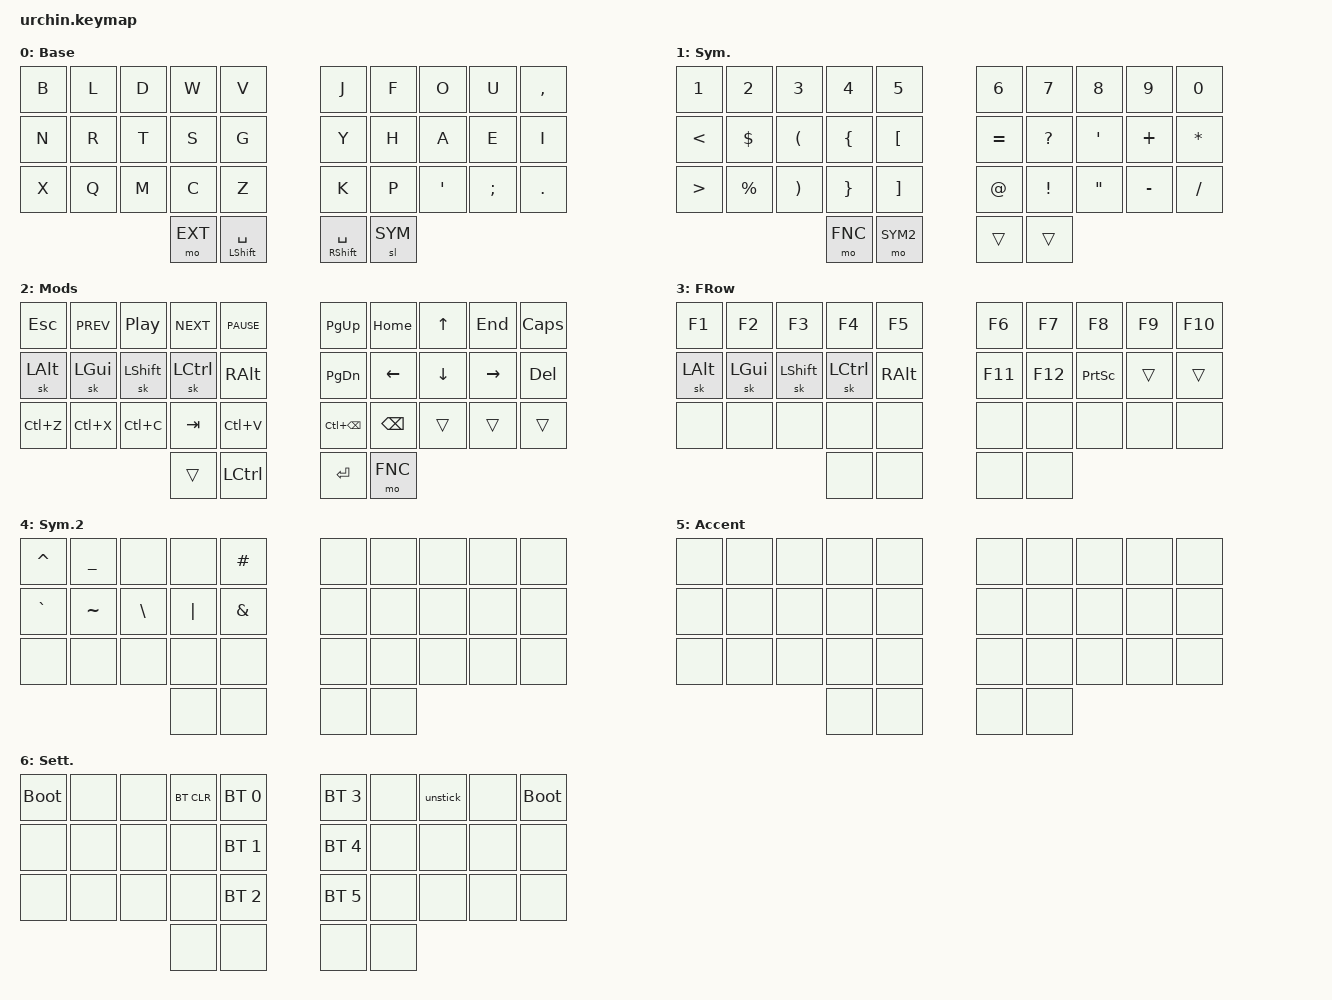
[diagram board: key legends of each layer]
/*
 * Copyright (c) 2020 duckyb
 *
 * SPDX-License-Identifier: MIT
 */

#include <behaviors.dtsi>
#include <dt-bindings/zmk/keys.h>
#include <dt-bindings/zmk/bt.h>
#include <dt-bindings/zmk/outputs.h>
#include "keymap_italian.h"

// Layer definitions
#define BASE 0
#define SYM 1
#define EXT 2
#define FNC 3
#define SYM2 4
#define ACCENT 5
#define SETTINGS 6
// -----------------

&sk {
	// don't release mods on other mods presses
	ignore-modifiers;
};


/ {
	behaviors {
		// Enables holding the first mod-tap key
		// by performing a tap-release-hold sequence.
		// To use it: "&qt KEYCODE1 KEYCODE2"
		qt: quick_tap {
			compatible = "zmk,behavior-hold-tap";
			label = "QUICK_TAP";
			#binding-cells = <2>;
			flavor = "hold-preferred";
			tapping-term-ms = <200>;
			quick-tap-ms = <200>;
			bindings = <&kp>, <&kp>;
		};
	};

	macros {
		// sometimes my device thinks a modifier is being held down
		// pressing all modifiers fixes it.
		unstick: unstick {
			label = "ZM_unstick";
			compatible = "zmk,behavior-macro";
			#binding-cells = <0>;
			bindings = <&kp LSHIFT &kp RSHIFT &kp LCTRL &kp RCTRL &kp LALT &kp RALT &kp LGUI &kp RGUI>;
		};
	};

	combos {
		compatible = "zmk,combos";
		// both right thumb keys
		combo_accent {
			timeout-ms = <200>;
			key-positions = <32 33>;
			bindings = <&mo ACCENT>;
		};
		// internal-left & external-right thumb keys
		combo_sym2 {
			timeout-ms = <200>;
			key-positions = <31 33>;
			bindings = <&mo SYM2>;
		};
		// both left thumb keys
		combo_settings {
			timeout-ms = <200>;
			key-positions = <30 31>;
			bindings = <&mo SETTINGS>;
		};
	};

	keymap {
		compatible = "zmk,keymap";
		// Base alpha layer
		default_layer {
			label = "Base";
			bindings = <
			&kp B &kp L &kp D &kp W &kp V           &kp J &kp F  &kp O     &kp U    &kp COMMA 
			&kp N &kp R &kp T &kp S &kp G           &kp Y &kp H  &kp A     &kp E    &kp I
			&kp X &kp Q &kp M &kp C &kp Z           &kp K &kp P  &kp APOS  &kp SEMI &kp DOT
					  &mo EXT &qt LSHIFT SPACE           &qt RSHIFT SPACE &sl SYM
			>;
		};

		// Numbers and high-frequency symbols
		sym_layer {
			label = "Sym.";
			bindings = <
			&kp N1           &kp N2      &kp N3   &kp N4   &kp N5		&kp N6  &kp N7   &kp N8    &kp N9    &kp N0
			&kp LESS_THAN    &kp DOLLAR  &kp LPAR &kp LBRC &kp LBKT         &kp EQUAL &kp QUESTION &kp APOS &kp PLUS &kp ASTRK
			&kp GREATER_THAN &kp PERCENT &kp RPAR &kp RBRC &kp RBKT 	&kp AT  &kp EXCL &kp DQT &kp MINUS  &kp FSLH
							      &mo FNC  &mo SYM2         &trans  &trans
			>;
		};

		// Main modifiers and arrow keys
		ext_layer {
			label = "Mods";
			bindings = <
			&kp ESC   &kp C_PREV &kp C_PP    &kp C_NEXT &kp C_PAUSE        &kp PG_UP    &kp HOME  &kp UP    &kp END    &kp CAPS
			&sk LALT  &sk LGUI   &sk LSHIFT  &sk LCTRL  &kp RALT 	       &kp PG_DN    &kp LEFT  &kp DOWN  &kp RIGHT  &kp DEL
			&kp LC(Z) &kp LC(X)  &kp LC(C)   &kp TAB    &kp LC(V)          &kp LC(BSPC) &kp BSPC  &trans    &trans     &trans
							 &trans     &kp LCTRL          &kp ENTER    &mo FNC 
			>;
		};

		// Function keys with modifiers
		fnc_layer {
			label = "FRow";
			bindings = <
			&kp F1   &kp F2   &kp F3     &kp F4    &kp F5 		&kp F6  &kp F7   &kp F8          &kp F9 &kp F10 
			&sk LALT &sk LGUI &sk LSHIFT &sk LCTRL &kp RALT         &kp F11 &kp F12  &kp PRINTSCREEN &trans &trans
			&none    &none    &none      &none     &none		&none   &none    &none           &none  &none 
						     &none     &none            &none   &none  
			>;
		};

		// Low frequency symbols.
		symbols_2_layer {
			label = "Sym.2";
			bindings = <
			&kp CARET &kp UNDER &none    &none    &kp HASH       &none &none &none &none &none 
			&kp GRAVE &kp TILDE &kp BSLH &kp PIPE &kp AMPS        &none &none &none &none &none
			&none     &none     &none    &none    &none          &none &none &none &none &none
							&none &none          &none &none 
			>;
		};

		// Used to type regional accents.
		accent_layer {
			label = "Accent";
			bindings = <
			&none &none &none &none &none 		&none &none &none &none &none 
			&none &none &none &none &none 		&none &none &none &none &none
			&none &none &none &none &none 		&none &none &none &none &none
					  &none &none           &none &none 
			>;
		};

		// Used to change the keyboard's settings.
		settings_layer {
				label = "Sett.";
				bindings = <
				&bootloader &none &none &bt BT_CLR &bt BT_SEL 0               &bt BT_SEL 3 &none &unstick &none &bootloader 
				&none &none &none &none      &bt BT_SEL 1 						  &bt BT_SEL 4 &none &none &none &none
				&none &none &none &none      &bt BT_SEL 2               &bt BT_SEL 5 &none &none &none &none
										&none &none                         &none &none 
				>;
		};
	};
};
